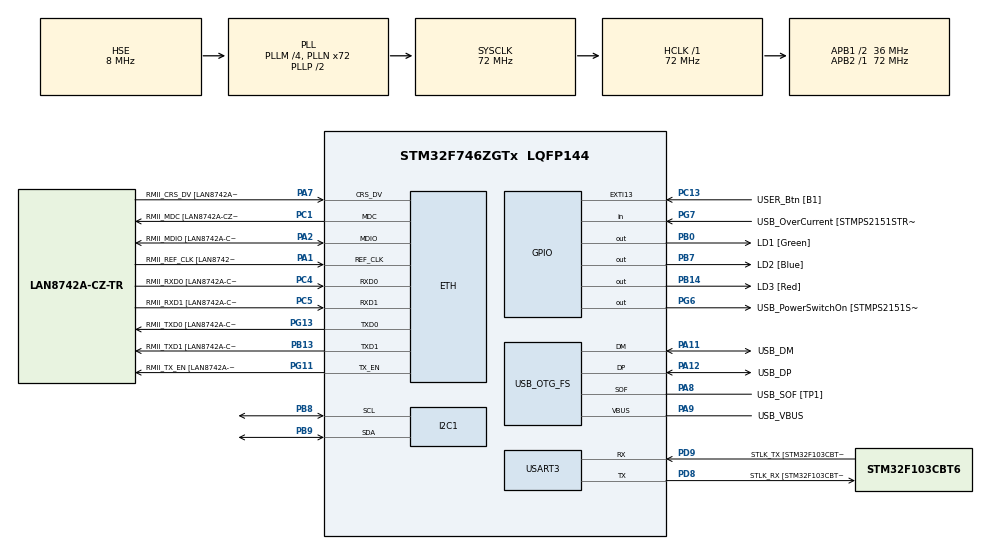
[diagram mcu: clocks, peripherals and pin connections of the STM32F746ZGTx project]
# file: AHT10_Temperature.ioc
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ETH.MediaInterface=HAL_ETH_RMII_MODE
ETH.PHY_Name=LAN8742A_PHY_ADDRESS
ETH.PHY_Value=0
ETH.PhyAddress=0
I2C1.Timing=0x00808CD2
Mcu.Family=STM32F7
Mcu.Name=STM32F746ZGTx
Mcu.Package=LQFP144
NVIC.PriorityGroup=NVIC_PRIORITYGROUP_4
PA1.GPIO_Label=RMII_REF_CLK [LAN8742A-CZ-TR_REFCLK0]
PA1.Mode=RMII
PA1.Signal=ETH_REF_CLK
PA10.GPIO_Label=USB_ID
PA10.Signal=USB_OTG_FS_ID
PA11.GPIO_Label=USB_DM
PA11.Mode=Device_Only
PA11.Signal=USB_OTG_FS_DM
PA12.GPIO_Label=USB_DP
PA12.Mode=Device_Only
PA12.Signal=USB_OTG_FS_DP
PA13.GPIO_Label=TMS
PA13.Mode=Serial_Wire
PA13.Signal=SYS_JTMS-SWDIO
PA14.GPIO_Label=TCK
PA14.Mode=Serial_Wire
PA14.Signal=SYS_JTCK-SWCLK
PA2.GPIO_Label=RMII_MDIO [LAN8742A-CZ-TR_MDIO]
PA2.Mode=RMII
PA2.Signal=ETH_MDIO
PA7.GPIO_Label=RMII_CRS_DV [LAN8742A-CZ-TR_CRS_DV]
PA7.Mode=RMII
PA7.Signal=ETH_CRS_DV
PA8.GPIO_Label=USB_SOF [TP1]
PA8.Mode=Activate_SOF_FS
PA8.Signal=USB_OTG_FS_SOF
PA9.GPIO_Label=USB_VBUS
PA9.Mode=Activate_VBUS
PA9.Signal=USB_OTG_FS_VBUS
PB0.GPIO_Label=LD1 [Green]
PB0.Signal=GPIO_Output
PB13.GPIO_Label=RMII_TXD1 [LAN8742A-CZ-TR_TXD1]
PB13.Mode=RMII
PB13.Signal=ETH_TXD1
PB14.GPIO_Label=LD3 [Red]
PB14.Signal=GPIO_Output
PB3.GPIO_Label=SW0
PB3.Signal=SYS_JTDO-SWO
PB7.GPIO_Label=LD2 [Blue]
PB7.Signal=GPIO_Output
PB8.Mode=I2C
PB8.Signal=I2C1_SCL
PB9.Mode=I2C
PB9.Signal=I2C1_SDA
PC1.GPIO_Label=RMII_MDC [LAN8742A-CZ-TR_MDC]
PC1.Mode=RMII
PC1.Signal=ETH_MDC
PC13.GPIO_Label=USER_Btn [B1]
PC13.Signal=GPXTI13
PC14/OSC32_IN.Mode=LSE-External-Oscillator
PC14/OSC32_IN.Signal=RCC_OSC32_IN
PC15/OSC32_OUT.Mode=LSE-External-Oscillator
PC15/OSC32_OUT.Signal=RCC_OSC32_OUT
PC4.GPIO_Label=RMII_RXD0 [LAN8742A-CZ-TR_RXD0]
PC4.Mode=RMII
PC4.Signal=ETH_RXD0
PC5.GPIO_Label=RMII_RXD1 [LAN8742A-CZ-TR_RXD1]
PC5.Mode=RMII
PC5.Signal=ETH_RXD1
PD8.GPIO_Label=STLK_RX [STM32F103CBT6_PA3]
PD8.GPIO_PuPd=GPIO_PULLUP
PD8.Mode=Asynchronous
PD8.Signal=USART3_TX
PD9.GPIO_Label=STLK_TX [STM32F103CBT6_PA2]
PD9.GPIO_PuPd=GPIO_PULLUP
PD9.Mode=Asynchronous
PD9.Signal=USART3_RX
PG11.GPIO_Label=RMII_TX_EN [LAN8742A-CZ-TR_TXEN]
PG11.Mode=RMII
PG11.Signal=ETH_TX_EN
PG13.GPIO_Label=RMII_TXD0 [LAN8742A-CZ-TR_TXD0]
PG13.Mode=RMII
PG13.Signal=ETH_TXD0
PG6.GPIO_Label=USB_PowerSwitchOn [STMPS2151STR_EN]
PG6.Signal=GPIO_Output
PG7.GPIO_Label=USB_OverCurrent [STMPS2151STR_FAULT]
PG7.Signal=GPIO_Input
PH0/OSC_IN.GPIO_Label=MCO [STM32F103CBT6_PA8]
PH0/OSC_IN.Mode=HSE-External-Clock-Source
PH0/OSC_IN.Signal=RCC_OSC_IN
PH1/OSC_OUT.Mode=HSE-External-Clock-Source
PH1/OSC_OUT.Signal=RCC_OSC_OUT
ProjectManager.HeapSize=0x200
ProjectManager.StackSize=0x400
ProjectManager.TargetToolchain=STM32CubeIDE
RCC.48MHZClocksFreq_Value=24000000
RCC.AHBFreq_Value=72000000
RCC.APB1CLKDivider=RCC_HCLK_DIV2
RCC.APB1Freq_Value=36000000
RCC.APB1TimFreq_Value=72000000
RCC.APB2Freq_Value=72000000
RCC.APB2TimFreq_Value=72000000
RCC.CortexFreq_Value=72000000
RCC.HCLKFreq_Value=72000000
RCC.HSE_VALUE=8000000
RCC.HSI_VALUE=16000000
RCC.PLLM=4
RCC.PLLMUL=RCC_PLL_MUL9
RCC.PLLN=72
RCC.PLLQ=3
RCC.PRESCALERUSB=RCC_USBCLKSOURCE_PLL_DIV1_5
RCC.SYSCLKFreq_VALUE=72000000
RCC.SYSCLKSource=RCC_SYSCLKSOURCE_PLLCLK
RCC.SYSCLKSourceVirtual=RCC_SYSCLKSOURCE_PLLCLK
RCC.USBFreq_Value=48000000
RCC.VCOOutputFreq_Value=144000000
USART3.VirtualMode-Asynchronous=VM_ASYNC
USB_OTG_FS.VirtualMode=Device_Only
board=NUCLEO-F746ZG

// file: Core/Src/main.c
/* USER CODE BEGIN Header */
/**
  ******************************************************************************
  * @file           : main.c
  * @brief          : Main program body
  ******************************************************************************
  * @attention
  *
  * Copyright (c) 2023 STMicroelectronics.
  * All rights reserved.
  *
  * This software is licensed under terms that can be found in the LICENSE file
  * in the root directory of this software component.
  * If no LICENSE file comes with this software, it is provided AS-IS.
  *
  ******************************************************************************
  */
/* USER CODE END Header */
#include "main.h"
#include "string.h"
#include <stdio.h>

#if defined ( __ICCARM__ ) /*!< IAR Compiler */
#pragma location=0x2004c000
ETH_DMADescTypeDef  DMARxDscrTab[ETH_RX_DESC_CNT]; /* Ethernet Rx DMA Descriptors */
#pragma location=0x2004c0a0
ETH_DMADescTypeDef  DMATxDscrTab[ETH_TX_DESC_CNT]; /* Ethernet Tx DMA Descriptors */

#elif defined ( __CC_ARM )  /* MDK ARM Compiler */

__attribute__((at(0x2004c000))) ETH_DMADescTypeDef  DMARxDscrTab[ETH_RX_DESC_CNT]; /* Ethernet Rx DMA Descriptors */
__attribute__((at(0x2004c0a0))) ETH_DMADescTypeDef  DMATxDscrTab[ETH_TX_DESC_CNT]; /* Ethernet Tx DMA Descriptors */

#elif defined ( __GNUC__ ) /* GNU Compiler */
ETH_DMADescTypeDef DMARxDscrTab[ETH_RX_DESC_CNT] __attribute__((section(".RxDecripSection"))); /* Ethernet Rx DMA Descriptors */
ETH_DMADescTypeDef DMATxDscrTab[ETH_TX_DESC_CNT] __attribute__((section(".TxDecripSection")));   /* Ethernet Tx DMA Descriptors */

#endif

ETH_TxPacketConfig TxConfig;

ETH_HandleTypeDef heth;

I2C_HandleTypeDef hi2c1;

UART_HandleTypeDef huart3;

PCD_HandleTypeDef hpcd_USB_OTG_FS;

void SystemClock_Config(void);
static void MX_GPIO_Init(void);
static void MX_ETH_Init(void);
static void MX_USART3_UART_Init(void);
static void MX_USB_OTG_FS_PCD_Init(void);
static void MX_I2C1_Init(void);

int main(void)
{

  /* MCU Configuration--------------------------------------------------------*/

  /* Reset of all peripherals, Initializes the Flash interface and the Systick. */
  HAL_Init();

  /* Configure the system clock */
  SystemClock_Config();

  /* Initialize all configured peripherals */
  MX_GPIO_Init();
  MX_ETH_Init();
  MX_USART3_UART_Init();
  MX_USB_OTG_FS_PCD_Init();
  MX_I2C1_Init();
  /* USER CODE BEGIN 2 */

  /* Variables for AHT10 */
  uint8_t AHT10_RX_Data[6];
  uint32_t AHT10_ADC_Raw;
  float AHT10_Temperature;
  float AHT10_Humidity;
  uint8_t AHT10_TmpHum_Cmd[3] = {0xAC, 0x33, 0x00};

  #define AHT10_ADRESS (0x38 << 1) // 0b1110000; Adress[7-bit]Wite/Read[1-bit]

  HAL_StatusTypeDef ref = HAL_I2C_IsDeviceReady(&hi2c1,0b01110000,1,100);

  if (ref == HAL_OK){

	  printf("Device is ready! \n");

  }else{

	  printf("Device Error!!! \n");

  }

  /* USER CODE END 2 */

  /* Infinite loop */
  while (1)
  {

    /* USER CODE BEGIN 3 */

	  HAL_I2C_Master_Transmit(&hi2c1,AHT10_ADRESS, (uint8_t *)AHT10_TmpHum_Cmd,3,100);
	  HAL_Delay(100);
	  HAL_I2C_Master_Receive(&hi2c1, AHT10_ADRESS,AHT10_RX_Data ,6,100);

	  /* Convert to Temperature in °C */
	  AHT10_ADC_Raw = (((uint32_t)AHT10_RX_Data[3] & 15) << 16) | ((uint32_t)AHT10_RX_Data[4] << 8) | AHT10_RX_Data[5];
	  AHT10_Temperature = (float)(AHT10_ADC_Raw * 200.00 / 1048576.00) - 50.00;

	  AHT10_ADC_Raw = ((uint32_t)AHT10_RX_Data[1] << 12) | ((uint32_t)AHT10_RX_Data[2]<<4) | (uint32_t)AHT10_RX_Data[3] >>4;
	  AHT10_Humidity = (float)(AHT10_ADC_Raw * 100.0) / 1048576.0;
	  HAL_Delay(1000);

	  printf("Tempareture is  %f C & Humidity is %.2f%% \n",AHT10_Temperature,AHT10_Humidity);

//	  uint8_t data[1];
//	  uint8_t temp;
//	  HAL_I2C_Mem_Write(&hi2c1,0b01110001,0b11100001,1,data,1, 100);
//	  HAL_I2C_Mem_Read(&hi2c1,0b01110001,0xAC,1,data,1, 100);
//	  temp = data[0];
//
//	  printf("Tempareture is  %d C \n",temp);
//
//	  HAL_Delay(1000);
//
//	  HAL_I2C_Mem_Write(&hi2c1,0b01110001,0b10111010,1,data,1, 100);

  }
  /* USER CODE END 3 */
}

void SystemClock_Config(void)
{
  RCC_OscInitTypeDef RCC_OscInitStruct = {0};
  RCC_ClkInitTypeDef RCC_ClkInitStruct = {0};

  /** Configure LSE Drive Capability
  */
  HAL_PWR_EnableBkUpAccess();

  /** Configure the main internal regulator output voltage
  */
  __HAL_RCC_PWR_CLK_ENABLE();
  __HAL_PWR_VOLTAGESCALING_CONFIG(PWR_REGULATOR_VOLTAGE_SCALE3);

  /** Initializes the RCC Oscillators according to the specified parameters
  * in the RCC_OscInitTypeDef structure.
  */
  RCC_OscInitStruct.OscillatorType = RCC_OSCILLATORTYPE_HSE;
  RCC_OscInitStruct.HSEState = RCC_HSE_BYPASS;
  RCC_OscInitStruct.PLL.PLLState = RCC_PLL_ON;
  RCC_OscInitStruct.PLL.PLLSource = RCC_PLLSOURCE_HSE;
  RCC_OscInitStruct.PLL.PLLM = 4;
  RCC_OscInitStruct.PLL.PLLN = 72;
  RCC_OscInitStruct.PLL.PLLP = RCC_PLLP_DIV2;
  RCC_OscInitStruct.PLL.PLLQ = 3;
  if (HAL_RCC_OscConfig(&RCC_OscInitStruct) != HAL_OK)
  {
    Error_Handler();
  }

  /** Initializes the CPU, AHB and APB buses clocks
  */
  RCC_ClkInitStruct.ClockType = RCC_CLOCKTYPE_HCLK|RCC_CLOCKTYPE_SYSCLK
                              |RCC_CLOCKTYPE_PCLK1|RCC_CLOCKTYPE_PCLK2;
  RCC_ClkInitStruct.SYSCLKSource = RCC_SYSCLKSOURCE_PLLCLK;
  RCC_ClkInitStruct.AHBCLKDivider = RCC_SYSCLK_DIV1;
  RCC_ClkInitStruct.APB1CLKDivider = RCC_HCLK_DIV2;
  RCC_ClkInitStruct.APB2CLKDivider = RCC_HCLK_DIV1;

  if (HAL_RCC_ClockConfig(&RCC_ClkInitStruct, FLASH_LATENCY_2) != HAL_OK)
  {
    Error_Handler();
  }
}

static void MX_ETH_Init(void)
{

   static uint8_t MACAddr[6];

  heth.Instance = ETH;
  MACAddr[0] = 0x00;
  MACAddr[1] = 0x80;
  MACAddr[2] = 0xE1;
  MACAddr[3] = 0x00;
  MACAddr[4] = 0x00;
  MACAddr[5] = 0x00;
  heth.Init.MACAddr = &MACAddr[0];
  heth.Init.MediaInterface = HAL_ETH_RMII_MODE;
  heth.Init.TxDesc = DMATxDscrTab;
  heth.Init.RxDesc = DMARxDscrTab;
  heth.Init.RxBuffLen = 1524;

  if (HAL_ETH_Init(&heth) != HAL_OK)
  {
    Error_Handler();
  }

  memset(&TxConfig, 0 , sizeof(ETH_TxPacketConfig));
  TxConfig.Attributes = ETH_TX_PACKETS_FEATURES_CSUM | ETH_TX_PACKETS_FEATURES_CRCPAD;
  TxConfig.ChecksumCtrl = ETH_CHECKSUM_IPHDR_PAYLOAD_INSERT_PHDR_CALC;
  TxConfig.CRCPadCtrl = ETH_CRC_PAD_INSERT;

}

static void MX_I2C1_Init(void)
{

  hi2c1.Instance = I2C1;
  hi2c1.Init.Timing = 0x00808CD2;
  hi2c1.Init.OwnAddress1 = 0;
  hi2c1.Init.AddressingMode = I2C_ADDRESSINGMODE_7BIT;
  hi2c1.Init.DualAddressMode = I2C_DUALADDRESS_DISABLE;
  hi2c1.Init.OwnAddress2 = 0;
  hi2c1.Init.OwnAddress2Masks = I2C_OA2_NOMASK;
  hi2c1.Init.GeneralCallMode = I2C_GENERALCALL_DISABLE;
  hi2c1.Init.NoStretchMode = I2C_NOSTRETCH_DISABLE;
  if (HAL_I2C_Init(&hi2c1) != HAL_OK)
  {
    Error_Handler();
  }

  /** Configure Analogue filter
  */
  if (HAL_I2CEx_ConfigAnalogFilter(&hi2c1, I2C_ANALOGFILTER_ENABLE) != HAL_OK)
  {
    Error_Handler();
  }

  /** Configure Digital filter
  */
  if (HAL_I2CEx_ConfigDigitalFilter(&hi2c1, 0) != HAL_OK)
  {
    Error_Handler();
  }

}

static void MX_USART3_UART_Init(void)
{

  huart3.Instance = USART3;
  huart3.Init.BaudRate = 115200;
  huart3.Init.WordLength = UART_WORDLENGTH_8B;
  huart3.Init.StopBits = UART_STOPBITS_1;
  huart3.Init.Parity = UART_PARITY_NONE;
  huart3.Init.Mode = UART_MODE_TX_RX;
  huart3.Init.HwFlowCtl = UART_HWCONTROL_NONE;
  huart3.Init.OverSampling = UART_OVERSAMPLING_16;
  huart3.Init.OneBitSampling = UART_ONE_BIT_SAMPLE_DISABLE;
  huart3.AdvancedInit.AdvFeatureInit = UART_ADVFEATURE_NO_INIT;
  if (HAL_UART_Init(&huart3) != HAL_OK)
  {
    Error_Handler();
  }

}

static void MX_USB_OTG_FS_PCD_Init(void)
{

  hpcd_USB_OTG_FS.Instance = USB_OTG_FS;
  hpcd_USB_OTG_FS.Init.dev_endpoints = 6;
  hpcd_USB_OTG_FS.Init.speed = PCD_SPEED_FULL;
  hpcd_USB_OTG_FS.Init.dma_enable = DISABLE;
  hpcd_USB_OTG_FS.Init.phy_itface = PCD_PHY_EMBEDDED;
  hpcd_USB_OTG_FS.Init.Sof_enable = ENABLE;
  hpcd_USB_OTG_FS.Init.low_power_enable = DISABLE;
  hpcd_USB_OTG_FS.Init.lpm_enable = DISABLE;
  hpcd_USB_OTG_FS.Init.vbus_sensing_enable = ENABLE;
  hpcd_USB_OTG_FS.Init.use_dedicated_ep1 = DISABLE;
  if (HAL_PCD_Init(&hpcd_USB_OTG_FS) != HAL_OK)
  {
    Error_Handler();
  }

}

static void MX_GPIO_Init(void)
{
  GPIO_InitTypeDef GPIO_InitStruct = {0};

  /* GPIO Ports Clock Enable */
  __HAL_RCC_GPIOC_CLK_ENABLE();
  __HAL_RCC_GPIOH_CLK_ENABLE();
  __HAL_RCC_GPIOA_CLK_ENABLE();
  __HAL_RCC_GPIOB_CLK_ENABLE();
  __HAL_RCC_GPIOD_CLK_ENABLE();
  __HAL_RCC_GPIOG_CLK_ENABLE();

  /*Configure GPIO pin Output Level */
  HAL_GPIO_WritePin(GPIOB, LD1_Pin|LD3_Pin|LD2_Pin, GPIO_PIN_RESET);

  /*Configure GPIO pin Output Level */
  HAL_GPIO_WritePin(USB_PowerSwitchOn_GPIO_Port, USB_PowerSwitchOn_Pin, GPIO_PIN_RESET);

  /*Configure GPIO pin : USER_Btn_Pin */
  GPIO_InitStruct.Pin = USER_Btn_Pin;
  GPIO_InitStruct.Mode = GPIO_MODE_IT_RISING;
  GPIO_InitStruct.Pull = GPIO_NOPULL;
  HAL_GPIO_Init(USER_Btn_GPIO_Port, &GPIO_InitStruct);

  /*Configure GPIO pins : LD1_Pin LD3_Pin LD2_Pin */
  GPIO_InitStruct.Pin = LD1_Pin|LD3_Pin|LD2_Pin;
  GPIO_InitStruct.Mode = GPIO_MODE_OUTPUT_PP;
  GPIO_InitStruct.Pull = GPIO_NOPULL;
  GPIO_InitStruct.Speed = GPIO_SPEED_FREQ_LOW;
  HAL_GPIO_Init(GPIOB, &GPIO_InitStruct);

  /*Configure GPIO pin : USB_PowerSwitchOn_Pin */
  GPIO_InitStruct.Pin = USB_PowerSwitchOn_Pin;
  GPIO_InitStruct.Mode = GPIO_MODE_OUTPUT_PP;
  GPIO_InitStruct.Pull = GPIO_NOPULL;
  GPIO_InitStruct.Speed = GPIO_SPEED_FREQ_LOW;
  HAL_GPIO_Init(USB_PowerSwitchOn_GPIO_Port, &GPIO_InitStruct);

  /*Configure GPIO pin : USB_OverCurrent_Pin */
  GPIO_InitStruct.Pin = USB_OverCurrent_Pin;
  GPIO_InitStruct.Mode = GPIO_MODE_INPUT;
  GPIO_InitStruct.Pull = GPIO_NOPULL;
  HAL_GPIO_Init(USB_OverCurrent_GPIO_Port, &GPIO_InitStruct);

}

void Error_Handler(void)
{
  __disable_irq();
  while (1)
  {
  }
}
